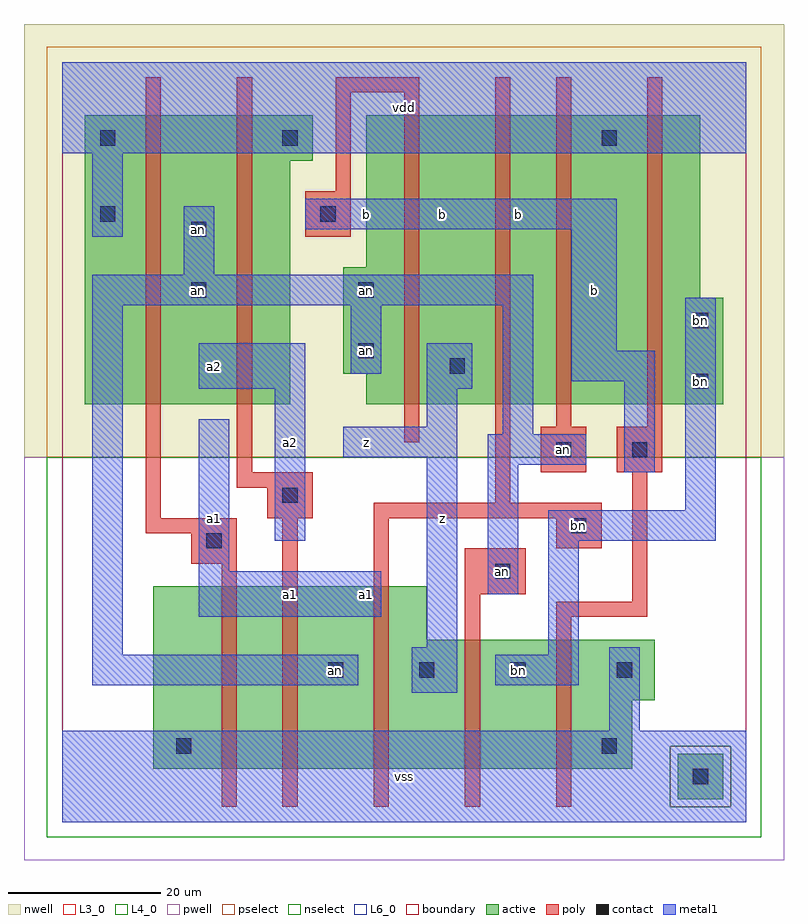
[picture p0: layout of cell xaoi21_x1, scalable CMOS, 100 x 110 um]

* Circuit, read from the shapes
.subckt xaoi21_x1 a1 a2 an b bn vdd vss z
M1 n1 a1 vss vss nfet w=24u l=2u
M2 an a2 n1 vss nfet w=24u l=2u
M3 z bn an vss nfet w=24u l=2u
M4 bn an z vss nfet w=17u l=2u
M5 vss b bn vss nfet w=17u l=2u
M6 an a1 vdd n2 pfet w=38u l=2u
M7 vdd a2 an n2 pfet w=38u l=2u
M8 z b an n2 pfet w=38u l=2u
M9 n3 bn z n2 pfet w=38u l=2u
M10 vdd an n3 n2 pfet w=38u l=2u
M11 bn b vdd n2 pfet w=38u l=2u
.ends

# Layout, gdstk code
import gdstk
lib = gdstk.Library(unit=1e-6, precision=1e-09)
def R(c, l, rs):  # rectangles x0, y0, x1, y1
    for r in rs: c.add(gdstk.rectangle(r[:2], r[2:], *l))
def A(c, l, x, y, w, h, nx, ny, dx, dy):  # array of equal rectangles
    R(c, l, [(x+i*dx, y+j*dy, x+i*dx+w, y+j*dy+h) for i in range(nx) for j in range(ny)])
L3_0 = (3, 0)
L4_0 = (4, 0)
L6_0 = (6, 0)
contact = (25, 0)
pwell = (41, 0)
nwell = (42, 0)
active = (43, 0)
pselect = (44, 0)
nselect = (45, 0)
poly = (46, 0)
metal1 = (49, 0)
boundary = (63, 0)

xaoi21_x1 = lib.new_cell('xaoi21_x1')
R(xaoi21_x1, L3_0, [(12,7,75,16), (12,16,78,24), (12,24,48,31)])
R(xaoi21_x1, L4_0, [(3,55,30,87), (40,55,87,59), (37,59,87,69), (37,69,84,73), (40,73,84,93), (3,87,33,93)])
R(xaoi21_x1, L6_0, [(81,3,87,9)])
A(xaoi21_x1, contact, 35, 19, 2, 2, 3, 1, 12, 0)
R(xaoi21_x1, contact, [(83,5,85,7), (15,9,17,11), (71,9,73,11), (73,19,75,21), (57,32,59,34), (19,36,21,38), (67,38,69,40), (29,42,31,44), (65,48,67,50), (75,48,77,50), (83,57,85,59), (51,59,53,61), (39,61,41,63), (83,65,85,67), (17,69,19,71), (39,69,41,71), (17,77,19,79), (5,79,7,81), (34,79,36,81), (5,89,7,91), (29,89,31,91), (71,89,73,91)])
R(xaoi21_x1, pwell, [(-5,-5,95,48)])
R(xaoi21_x1, nwell, [(-5,48,95,105)])
R(xaoi21_x1, active, [(81,3,87,9), (12,7,75,16), (12,16,78,24), (12,24,48,31), (3,55,30,87), (40,55,87,59), (37,59,87,69), (37,69,84,73), (40,73,84,93), (3,87,33,93)])
R(xaoi21_x1, pselect, [(80,2,88,10), (-2,48,92,102)])
R(xaoi21_x1, nselect, [(-2,-2,92,2), (-2,2,80,10), (88,2,92,10), (-2,10,92,48)])
R(xaoi21_x1, poly, [(21,2,23,34), (29,2,31,40), (41,2,43,40), (53,2,55,30), (65,2,67,27), (65,27,77,29), (75,29,77,46), (53,30,61,36), (17,34,23,38), (65,36,71,40), (11,38,23,40), (11,40,13,98), (27,40,33,44), (41,40,71,42), (57,42,59,98), (23,44,33,46), (23,46,25,98), (63,46,69,52), (73,46,79,52), (45,50,47,96), (65,52,67,98), (77,52,79,98), (32,77,38,83), (36,83,38,96), (36,96,47,98)])
R(xaoi21_x1, metal1, [(0,0,90,12), (72,12,76,23), (46,17,52,23), (4,18,39,22), (57,18,68,22), (4,22,8,68), (64,22,68,37), (48,23,52,48), (18,27,42,33), (56,30,60,47), (18,33,22,53), (28,37,32,57), (64,37,86,41), (82,41,86,69), (74,46,78,58), (56,47,69,51), (37,48,52,52), (58,51,62,68), (48,52,52,57), (18,57,32,63), (48,57,54,63), (67,58,78,62), (38,59,42,68), (67,62,73,78), (4,68,62,72), (16,72,20,81), (4,77,8,88), (32,78,73,82), (0,88,90,100)])
R(xaoi21_x1, boundary, [(0,0,90,100)])
xaoi21_x1.add(gdstk.Label('an', (18,70), layer=49, texttype=0))
xaoi21_x1.add(gdstk.Label('an', (18,78), layer=49, texttype=0))
xaoi21_x1.add(gdstk.Label('an', (36,20), layer=49, texttype=0))
xaoi21_x1.add(gdstk.Label('an', (40,62), layer=49, texttype=0))
xaoi21_x1.add(gdstk.Label('an', (40,70), layer=49, texttype=0))
xaoi21_x1.add(gdstk.Label('bn', (60,20), layer=49, texttype=0))
xaoi21_x1.add(gdstk.Label('an', (58,33), layer=49, texttype=0))
xaoi21_x1.add(gdstk.Label('bn', (68,39), layer=49, texttype=0))
xaoi21_x1.add(gdstk.Label('an', (66,49), layer=49, texttype=0))
xaoi21_x1.add(gdstk.Label('bn', (84,58), layer=49, texttype=0))
xaoi21_x1.add(gdstk.Label('bn', (84,66), layer=49, texttype=0))
xaoi21_x1.add(gdstk.Label('a1', (20,40), layer=49, texttype=0))
xaoi21_x1.add(gdstk.Label('a1', (40,30), layer=49, texttype=0))
xaoi21_x1.add(gdstk.Label('a1', (30,30), layer=49, texttype=0))
xaoi21_x1.add(gdstk.Label('a2', (30,50), layer=49, texttype=0))
xaoi21_x1.add(gdstk.Label('z', (40,50), layer=49, texttype=0))
xaoi21_x1.add(gdstk.Label('a2', (20,60), layer=49, texttype=0))
xaoi21_x1.add(gdstk.Label('b', (40,80), layer=49, texttype=0))
xaoi21_x1.add(gdstk.Label('vss', (45,6), layer=49, texttype=0))
xaoi21_x1.add(gdstk.Label('z', (50,40), layer=49, texttype=0))
xaoi21_x1.add(gdstk.Label('vdd', (45,94), layer=49, texttype=0))
xaoi21_x1.add(gdstk.Label('b', (60,80), layer=49, texttype=0))
xaoi21_x1.add(gdstk.Label('b', (50,80), layer=49, texttype=0))
xaoi21_x1.add(gdstk.Label('b', (70,70), layer=49, texttype=0))

lib.write_gds('xaoi21_x1.gds')
